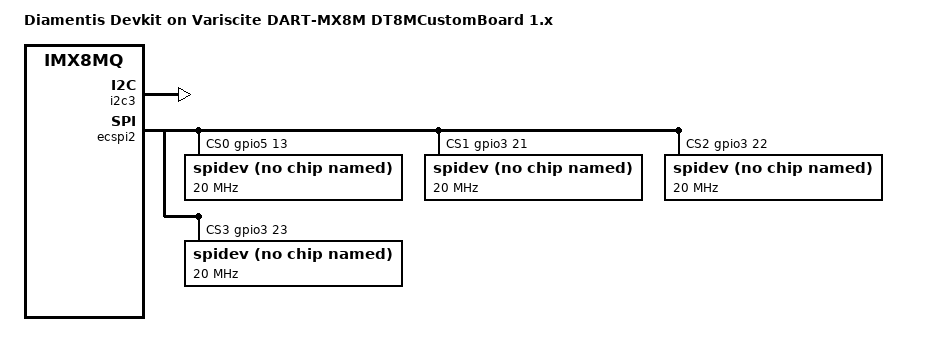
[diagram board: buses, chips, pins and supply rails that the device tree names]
/*
 * Copyright 2021 Amotus Solutions Inc.
 */

#include "imx8mq-var-dart-dt8mcustomboard-legacy.dtsi"
#include "imx8mq-var-dart-wifi.dtsi"
#include "imx8mq-var-dart-dt8mcustomboard-m4.dtsi"

/ {
	model = "Diamentis Devkit on Variscite DART-MX8M DT8MCustomBoard 1.x";
	/* TODO: pull gpio5 5 low on boot */
};

/* bluetooth */
&uart4 {
	status = "disabled";
};

/*
 * Disable spi1 bus. Used by touch controller, CAN controller and the
 * SPI test device.
 */
&ecspi1 {
	status = "disabled";
};

&i2c3 {
	status = "okay";
};

/* TODO: why are we disabling gpio2 bank? */
&gpio2 {
	status = "disabled";
};

&ecspi2 {
	pinctrl-names = "default";
	pinctrl-0 = <&pinctrl_ecspi2>;
	cs-gpios = <&gpio5 13 GPIO_ACTIVE_HIGH>,
		   <&gpio3 21 GPIO_ACTIVE_HIGH>,
		   <&gpio3 22 GPIO_ACTIVE_HIGH>,
		   <&gpio3 23 GPIO_ACTIVE_HIGH>;
	fsl,spi-num-chipselects = <4>;
	status = "okay";

	/* Test SPI device */
        spidev@0 {
		compatible = "spidev";
		spi-max-frequency = <20000000>;
		reg = <0>;
		status = "okay";
        };

        spidev@1 {
		compatible = "spidev";
		spi-max-frequency = <20000000>;
		reg = <1>;
		status = "okay";
        };

        spidev@2 {
		compatible = "spidev";
		spi-max-frequency = <20000000>;
		reg = <2>;
		status = "okay";
        };

        spidev@3 {
		compatible = "spidev";
		spi-max-frequency = <20000000>;
		reg = <3>;
		status = "okay";
        };
};

&iomuxc {
	pinctrl_ecspi2: ecspi2grp {
		fsl,pins = <
		MX8MQ_IOMUXC_ECSPI2_SCLK_ECSPI2_SCLK		0x1b
		MX8MQ_IOMUXC_ECSPI2_MOSI_ECSPI2_MOSI		0x1b
		MX8MQ_IOMUXC_ECSPI2_MISO_ECSPI2_MISO		0x1b
		MX8MQ_IOMUXC_ECSPI2_SS0_GPIO5_IO13 		0x1b
		MX8MQ_IOMUXC_SAI5_RXD0_GPIO3_IO21		0x1b
		MX8MQ_IOMUXC_SAI5_RXD1_GPIO3_IO22		0x1b
		MX8MQ_IOMUXC_SAI5_RXD2_GPIO3_IO23		0x1b
		>;
	};
};
